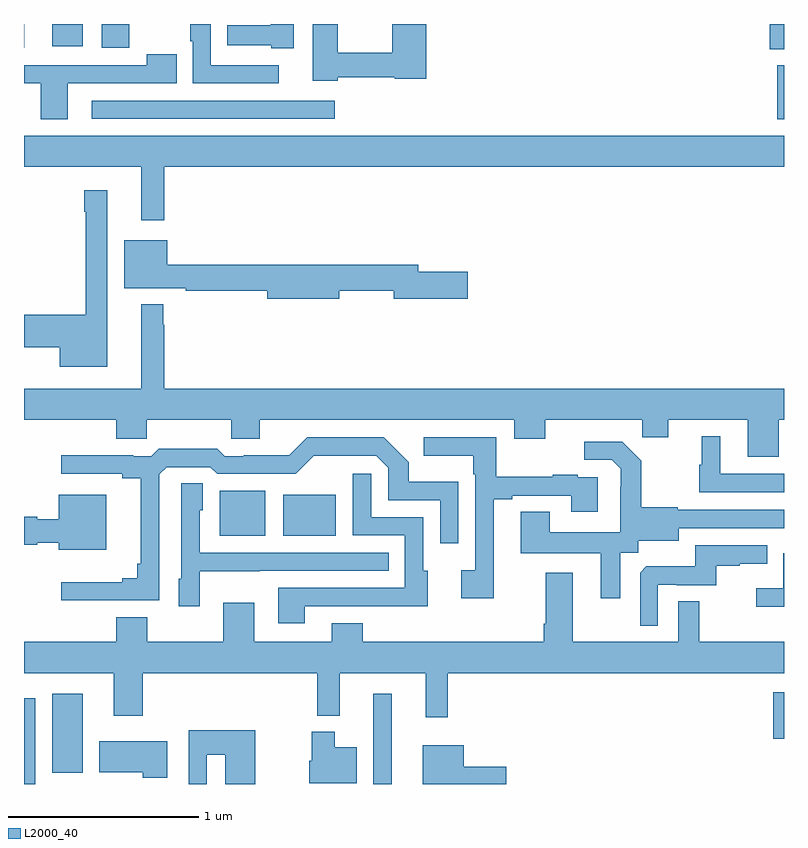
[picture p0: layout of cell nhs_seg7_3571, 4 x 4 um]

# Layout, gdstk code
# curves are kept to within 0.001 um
import gdstk
lib = gdstk.Library(unit=1e-6, precision=1e-09)
def R(c, l, rs):  # rectangles x0, y0, x1, y1
    for r in rs: c.add(gdstk.rectangle(r[:2], r[2:], *l))
def P(c, l, *ps):  # polygons
    for p in ps: c.add(gdstk.Polygon(p, *l))
L2000_40 = (2000, 40)

nhs_seg7_3571 = lib.new_cell('nhs_seg7_3571')
R(nhs_seg7_3571, L2000_40, [(339,1032,339.06,1032.451), (340.839,1032,340.936,1032.475), (339.149,1032.059,339.31,1032.475), (342.944,1032.239,343,1032.484), (340.031,1033.307,340.27,1033.543), (340.364,1033.307,340.642,1033.522), (342.965,1035.498,343,1035.783), (339.357,1035.501,340.636,1035.597), (342.926,1035.868,343,1036), (339,1035.876,339.001,1036), (339.41,1035.876,339.553,1036), (339.149,1035.884,339.31,1036)])
P(nhs_seg7_3571, L2000_40, [(340.342,1035.783),(339.984,1035.783),(339.984,1036),(339.876,1036),(339.876,1035.908),(339.888,1035.908),(339.888,1035.687),(340.342,1035.687)],
  [(340.65,1035.72),(340.95,1035.72),(340.95,1035.712),(341.117,1035.712),(341.117,1036),(340.939,1036),(340.939,1035.848),(340.65,1035.848),(340.65,1036),(340.52,1036),(340.52,1035.701),(340.65,1035.701)],
  [(340.42,1036),(340.298,1036),(340.298,1035.994),(340.071,1035.994),(340.071,1035.887),(340.302,1035.887),(340.302,1035.872),(340.42,1035.872)],
  [(339.229,1035.687),(339.803,1035.687),(339.803,1035.841),(339.647,1035.841),(339.647,1035.783),(339,1035.783),(339,1035.687),(339.089,1035.687),(339.089,1035.498),(339.229,1035.498)],
  [(339.739,1035.248),(343,1035.248),(343,1035.412),(339,1035.412),(339,1035.248),(339.617,1035.248),(339.617,1034.967),(339.739,1034.967)],
  [(339.439,1035.124),(339.318,1035.124),(339.318,1035.011),(339.325,1035.011),(339.325,1034.471),(339,1034.471),(339,1034.3),(339.188,1034.3),(339.188,1034.195),(339.439,1034.195)],
  [(340.66,1034.596),(340.946,1034.596),(340.946,1034.554),(341.335,1034.554),(341.335,1034.696),(341.074,1034.696),(341.074,1034.732),(339.754,1034.732),(339.754,1034.863),(339.527,1034.863),(339.527,1034.609),(339.85,1034.609),(339.85,1034.596),(340.28,1034.596),(340.28,1034.554),(340.66,1034.554)],
  [(339.739,1034.417),(339.732,1034.417),(339.732,1034.524),(339.617,1034.524),(339.617,1034.08),(339,1034.08),(339,1033.916),(339.485,1033.916),(339.485,1033.818),(339.645,1033.818),(339.645,1033.916),(340.09,1033.916),(340.09,1033.818),(340.24,1033.818),(340.24,1033.916),(341.579,1033.916),(341.579,1033.817),(341.743,1033.817),(341.743,1033.916),(342.253,1033.916),(342.253,1033.826),(342.391,1033.826),(342.391,1033.916),(342.809,1033.916),(342.809,1033.722),(342.973,1033.722),(342.973,1033.916),(343,1033.916),(343,1034.08),(339.739,1034.08)],
  [(343,1033.632),(342.664,1033.632),(342.664,1033.831),(342.566,1033.831),(342.566,1033.68),(342.555,1033.68),(342.555,1033.536),(343,1033.536)],
  [(339.711,1033.629),(339.75,1033.668),(339.981,1033.668),(340.017,1033.632),(340.431,1033.632),(340.526,1033.727),(340.854,1033.728),(340.917,1033.665),(340.917,1033.494),(341.19,1033.494),(341.19,1033.266),(341.286,1033.266),(341.286,1033.591),(341.025,1033.591),(341.025,1033.694),(340.894,1033.824),(340.491,1033.824),(340.397,1033.73),(340.156,1033.73),(340.156,1033.725),(340.056,1033.725),(340.017,1033.765),(339.709,1033.765),(339.669,1033.725),(339.575,1033.725),(339.575,1033.73),(339.195,1033.73),(339.195,1033.632),(339.518,1033.632),(339.518,1033.61),(339.614,1033.61),(339.614,1033.159),(339.595,1033.159),(339.595,1033.082),(339.518,1033.082),(339.518,1033.063),(339.195,1033.063),(339.195,1032.966),(339.711,1032.966)],
  [(341.473,1033.5),(341.569,1033.5),(341.569,1033.518),(341.879,1033.518),(341.879,1033.434),(342.019,1033.434),(342.019,1033.614),(341.915,1033.614),(341.915,1033.627),(341.783,1033.627),(341.783,1033.616),(341.485,1033.616),(341.485,1033.824),(341.103,1033.824),(341.103,1033.727),(341.364,1033.727),(341.364,1033.631),(341.376,1033.631),(341.376,1033.126),(341.301,1033.126),(341.301,1032.978),(341.473,1032.978)],
  [(342.139,1033.216),(342.234,1033.216),(342.234,1033.28),(342.445,1033.28),(342.445,1033.347),(343,1033.347),(343,1033.443),(342.441,1033.443),(342.441,1033.456),(342.249,1033.456),(342.249,1033.701),(342.149,1033.801),(341.949,1033.801),(341.949,1033.707),(342.093,1033.707),(342.14,1033.66),(342.14,1033.565),(342.138,1033.565),(342.138,1033.324),(341.767,1033.324),(341.767,1033.433),(341.615,1033.433),(341.615,1033.214),(342.035,1033.214),(342.035,1032.978),(342.139,1032.978)],
  [(340.477,1032.936),(340.907,1032.936),(340.907,1032.935),(341.125,1032.935),(341.125,1033.122),(341.1,1033.122),(341.1,1033.404),(340.827,1033.404),(340.827,1033.632),(340.731,1033.632),(340.731,1033.308),(341.004,1033.308),(341.004,1033.032),(340.337,1033.032),(340.337,1032.846),(340.477,1032.846)],
  [(339.924,1033.121),(340.241,1033.121),(340.241,1033.122),(340.919,1033.122),(340.919,1033.218),(339.924,1033.218),(339.924,1033.44),(339.94,1033.44),(339.94,1033.583),(339.828,1033.583),(339.828,1033.08),(339.815,1033.08),(339.815,1032.936),(339.924,1032.936)],
  [(339.433,1033.522),(339.182,1033.522),(339.182,1033.393),(339.069,1033.393),(339.069,1033.406),(339,1033.406),(339,1033.259),(339.069,1033.259),(339.069,1033.271),(339.182,1033.271),(339.182,1033.232),(339.433,1033.232)],
  [(342.336,1033.05),(342.436,1033.05),(342.436,1033.047),(342.644,1033.047),(342.644,1033.149),(342.767,1033.149),(342.767,1033.16),(342.911,1033.16),(342.911,1033.257),(342.534,1033.257),(342.534,1033.145),(342.275,1033.145),(342.243,1033.113),(342.243,1032.833),(342.336,1032.833)],
  [(343,1033.215),(342.996,1033.215),(342.996,1033.03),(342.855,1033.03),(342.855,1032.932),(343,1032.932)],
  [(340.619,1032.748),(340.213,1032.748),(340.213,1032.955),(340.049,1032.955),(340.049,1032.748),(339.649,1032.748),(339.649,1032.877),(339.485,1032.877),(339.485,1032.748),(339,1032.748),(339,1032.584),(339.473,1032.584),(339.473,1032.36),(339.626,1032.36),(339.626,1032.584),(340.543,1032.584),(340.543,1032.359),(340.661,1032.359),(340.661,1032.584),(341.114,1032.584),(341.114,1032.351),(341.231,1032.351),(341.231,1032.584),(343,1032.584),(343,1032.748),(342.553,1032.748),(342.553,1032.962),(342.444,1032.962),(342.444,1032.748),(341.887,1032.748),(341.887,1033.111),(341.747,1033.111),(341.747,1032.844),(341.735,1032.844),(341.735,1032.748),(340.783,1032.748),(340.783,1032.847),(340.619,1032.847)],
  [(339.963,1032.154),(340.058,1032.154),(340.058,1032),(340.216,1032),(340.216,1032.283),(339.867,1032.283),(339.867,1032),(339.963,1032)],
  [(340.75,1032.193),(340.636,1032.193),(340.636,1032.274),(340.514,1032.274),(340.514,1032.123),(340.502,1032.123),(340.502,1032.005),(340.75,1032.005)],
  [(339.754,1032.226),(339.395,1032.226),(339.395,1032.062),(339.625,1032.062),(339.625,1032.032),(339.754,1032.032)],
  [(341.539,1032.092),(341.314,1032.092),(341.314,1032.205),(341.099,1032.205),(341.099,1032),(341.539,1032)])

lib.write_gds('nhs_seg7_3571.gds')
